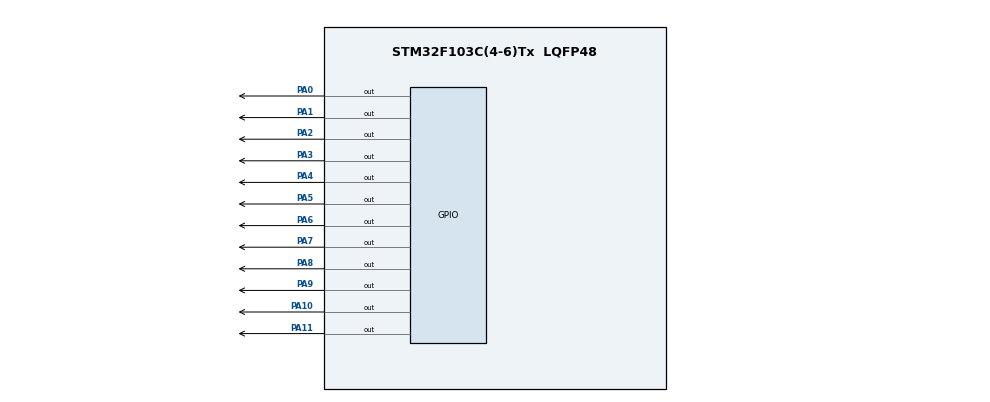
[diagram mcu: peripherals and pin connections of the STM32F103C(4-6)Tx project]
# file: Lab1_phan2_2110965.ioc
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Mcu.Family=STM32F1
Mcu.Name=STM32F103C(4-6)Tx
Mcu.Package=LQFP48
NVIC.PriorityGroup=NVIC_PRIORITYGROUP_4
PA0-WKUP.Signal=GPIO_Output
PA1.Signal=GPIO_Output
PA10.Signal=GPIO_Output
PA11.Signal=GPIO_Output
PA2.Signal=GPIO_Output
PA3.Signal=GPIO_Output
PA4.Signal=GPIO_Output
PA5.Signal=GPIO_Output
PA6.Signal=GPIO_Output
PA7.Signal=GPIO_Output
PA8.Signal=GPIO_Output
PA9.Signal=GPIO_Output
ProjectManager.HeapSize=0x200
ProjectManager.StackSize=0x400
ProjectManager.TargetToolchain=STM32CubeIDE
RCC.APB1Freq_Value=8000000
RCC.APB2Freq_Value=8000000
board=custom

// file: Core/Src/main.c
/* USER CODE BEGIN Header */
/**
  ******************************************************************************
  * @file           : main.c
  * @brief          : Main program body
  ******************************************************************************
  * @attention
  *
  * Copyright (c) 2024 STMicroelectronics.
  * All rights reserved.
  *
  * This software is licensed under terms that can be found in the LICENSE file
  * in the root directory of this software component.
  * If no LICENSE file comes with this software, it is provided AS-IS.
  *
  ******************************************************************************
  */
/* USER CODE END Header */
#include "main.h"

void SystemClock_Config(void);
static void MX_GPIO_Init(void);

/* USER CODE BEGIN 0 */
void clearAllClock(){
	for (int i = 0; i < 12; i++) {
		HAL_GPIO_WritePin(GPIOA, (1 << i), GPIO_PIN_SET);
	}
}
void setNumberOnClock(int num) {
    HAL_GPIO_WritePin(GPIOA, (1 << num), GPIO_PIN_RESET);
}
void clearNumberOnClock(int num) {
    HAL_GPIO_WritePin(GPIOA, (1 << num), GPIO_PIN_SET);
}
void exercise6() {
    while (1) {
    	clearAllClock();
        for (int i = 0; i < 12; i++) {
        	clearAllClock();
        	setNumberOnClock(i);
        	HAL_Delay(1000);
        }
    }
}
void exercise10() {
    int second = 0;
    int minute = 0;
    int hour = 0;

    clearAllClock();

    while (1) {
        setNumberOnClock(hour);

        setNumberOnClock(minute / 5);

        setNumberOnClock(second / 5);
        second++;
        if (second >= 60) {
            second = 0;
            minute++;
        }
        if (minute >= 60) {
            minute = 0;
            hour++;
        }
        if (hour >= 12) {
            hour = 0;
        }
        for (int i = 0; i < 12; i++) {
            if (i != hour && i != minute / 5 && i != second / 5) {
                clearNumberOnClock(i);
            }
        }
        HAL_Delay(50);
    }
}

/* USER CODE END 0 */

int main(void)
{

  /* MCU Configuration--------------------------------------------------------*/

  /* Reset of all peripherals, Initializes the Flash interface and the Systick. */
  HAL_Init();

  /* Configure the system clock */
  SystemClock_Config();

  /* Initialize all configured peripherals */
  MX_GPIO_Init();

  /* Infinite loop */
  /* USER CODE BEGIN WHILE */
exercise10();
    /* USER CODE END WHILE */

}

void SystemClock_Config(void)
{
  RCC_OscInitTypeDef RCC_OscInitStruct = {0};
  RCC_ClkInitTypeDef RCC_ClkInitStruct = {0};

  /** Initializes the RCC Oscillators according to the specified parameters
  * in the RCC_OscInitTypeDef structure.
  */
  RCC_OscInitStruct.OscillatorType = RCC_OSCILLATORTYPE_HSI;
  RCC_OscInitStruct.HSIState = RCC_HSI_ON;
  RCC_OscInitStruct.HSICalibrationValue = RCC_HSICALIBRATION_DEFAULT;
  RCC_OscInitStruct.PLL.PLLState = RCC_PLL_NONE;
  if (HAL_RCC_OscConfig(&RCC_OscInitStruct) != HAL_OK)
  {
    Error_Handler();
  }

  /** Initializes the CPU, AHB and APB buses clocks
  */
  RCC_ClkInitStruct.ClockType = RCC_CLOCKTYPE_HCLK|RCC_CLOCKTYPE_SYSCLK
                              |RCC_CLOCKTYPE_PCLK1|RCC_CLOCKTYPE_PCLK2;
  RCC_ClkInitStruct.SYSCLKSource = RCC_SYSCLKSOURCE_HSI;
  RCC_ClkInitStruct.AHBCLKDivider = RCC_SYSCLK_DIV1;
  RCC_ClkInitStruct.APB1CLKDivider = RCC_HCLK_DIV1;
  RCC_ClkInitStruct.APB2CLKDivider = RCC_HCLK_DIV1;

  if (HAL_RCC_ClockConfig(&RCC_ClkInitStruct, FLASH_LATENCY_0) != HAL_OK)
  {
    Error_Handler();
  }
}

static void MX_GPIO_Init(void)
{
  GPIO_InitTypeDef GPIO_InitStruct = {0};

  /* GPIO Ports Clock Enable */
  __HAL_RCC_GPIOA_CLK_ENABLE();

  /*Configure GPIO pin Output Level */
  HAL_GPIO_WritePin(GPIOA, GPIO_PIN_0|GPIO_PIN_1|GPIO_PIN_2|GPIO_PIN_3
                          |GPIO_PIN_4|GPIO_PIN_5|GPIO_PIN_6|GPIO_PIN_7
                          |GPIO_PIN_8|GPIO_PIN_9|GPIO_PIN_10|GPIO_PIN_11, GPIO_PIN_RESET);

  /*Configure GPIO pins : PA0 PA1 PA2 PA3
                           PA4 PA5 PA6 PA7
                           PA8 PA9 PA10 PA11 */
  GPIO_InitStruct.Pin = GPIO_PIN_0|GPIO_PIN_1|GPIO_PIN_2|GPIO_PIN_3
                          |GPIO_PIN_4|GPIO_PIN_5|GPIO_PIN_6|GPIO_PIN_7
                          |GPIO_PIN_8|GPIO_PIN_9|GPIO_PIN_10|GPIO_PIN_11;
  GPIO_InitStruct.Mode = GPIO_MODE_OUTPUT_PP;
  GPIO_InitStruct.Pull = GPIO_NOPULL;
  GPIO_InitStruct.Speed = GPIO_SPEED_FREQ_LOW;
  HAL_GPIO_Init(GPIOA, &GPIO_InitStruct);

}

void Error_Handler(void)
{
  __disable_irq();
  while (1)
  {
  }
}
